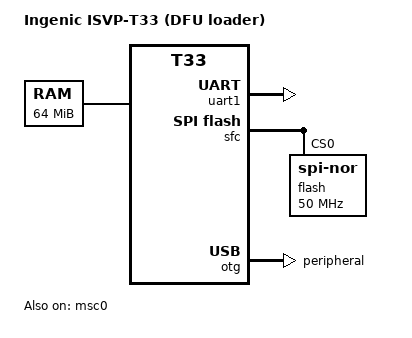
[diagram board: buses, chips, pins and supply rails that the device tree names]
// SPDX-License-Identifier: GPL-2.0+
/*
 * Ingenic ISVP-T33, DFU/USB-boot loader variant.
 *
 * Identical to t33-isvp.dts except the DWC2 OTG is dr_mode =
 * "peripheral" so the dwc2_udc_otg gadget binds (dwc2_udc_otg_bind
 * rejects "host"). Used only by isvp_t33_usbboot_defconfig - the
 * dev/flash loader that USB-boots and auto-enters DFU. Production
 * NOR uses t33-isvp.dts (dr_mode="host" for USB host).
 *
 * Memory: 64 MB - matches the DDR2 M14D5121632A default
 * (T33_DDR_SIZE in t33-ddr.h). DDR3-128M variants would need
 * their own DFU DT + defconfig pair.
 */

/dts-v1/;

#include <dt-bindings/gpio/gpio.h>
#include "t33.dtsi"

/ {
	compatible = "ingenic,isvp-t33", "ingenic,t33";
	model = "Ingenic ISVP-T33 (DFU loader)";

	aliases {
		serial1 = &uart1;
	};

	chosen {
		stdout-path = "serial1:115200n8";
	};

	memory {
		device_type = "memory";
		reg = <0x0 0x04000000>;	/* 64 MB DDR2 (M14D5121632A) */
	};
};

&uart1 {
	status = "okay";
};

&sfc {
	status = "okay";

	flash@0 {
		compatible = "jedec,spi-nor";
		reg = <0>;
		spi-max-frequency = <50000000>;
	};
};

&msc0 {
	status = "okay";
};

&otg {
	status = "okay";
	dr_mode = "peripheral";		/* gadget bind for DFU/g_dnl */
};
